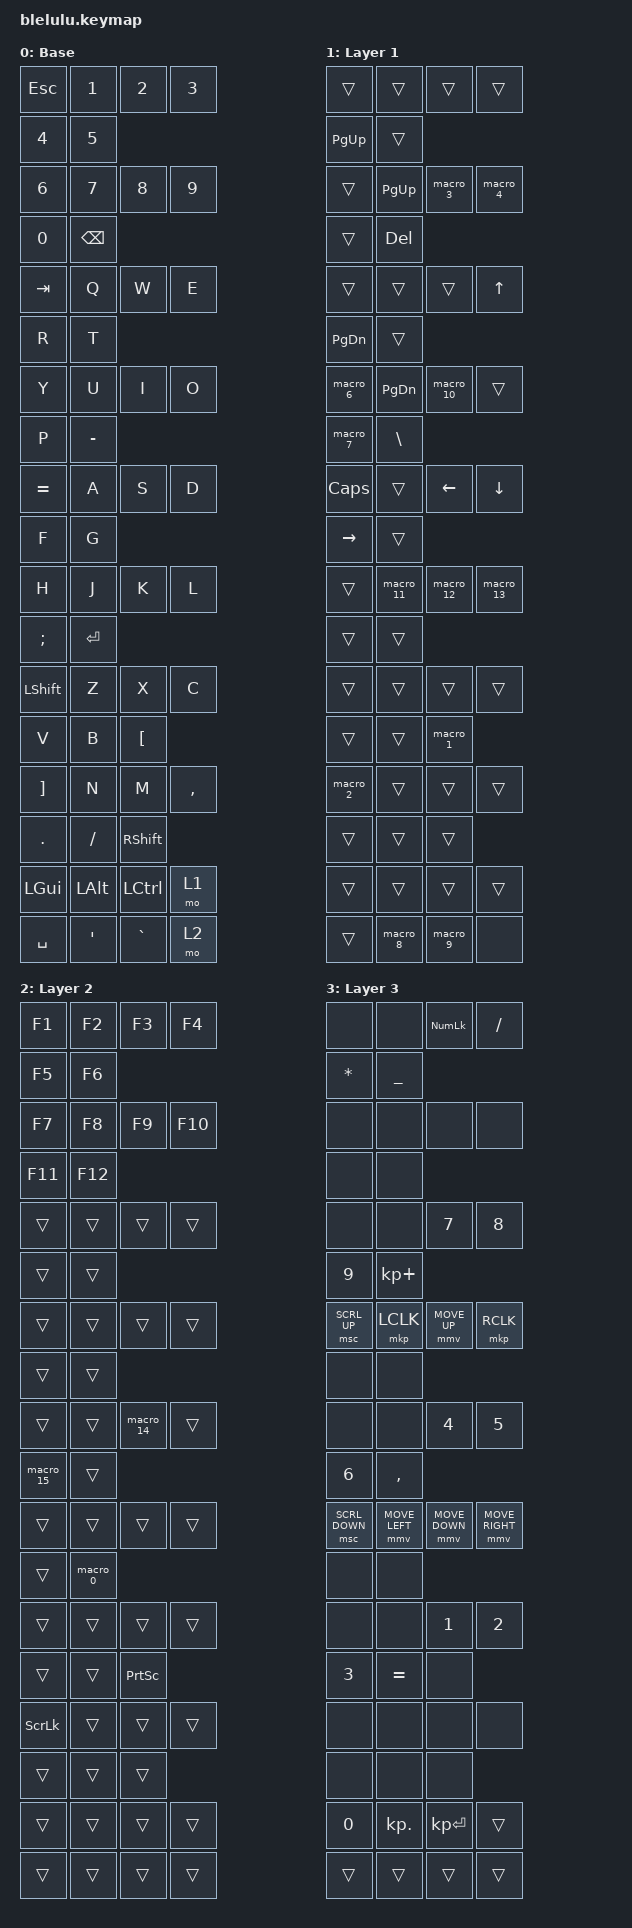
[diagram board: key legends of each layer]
#include <behaviors.dtsi>
#include <dt-bindings/zmk/keys.h>
#include <dt-bindings/zmk/mouse.h>

/ {
    macros {
        macro_0: macro_0 {
            compatible = "zmk,behavior-macro";
            #binding-cells = <0>;
            wait-ms = <40>;
            tap-ms = <40>;
            bindings = <&kp DQT &kp DQT &kp LEFT>;
        };
        macro_1: macro_1 {
            compatible = "zmk,behavior-macro";
            #binding-cells = <0>;
            bindings = <&kp LBKT &kp RBKT &kp LEFT>;
        };
        macro_2: macro_2 {
            compatible = "zmk,behavior-macro";
            #binding-cells = <0>;
            bindings = <&kp LBRC &kp RBRC &kp LEFT>;
        };
        macro_3: macro_3 {
            compatible = "zmk,behavior-macro";
            #binding-cells = <0>;
            bindings = <&kp ASTRK &kp ASTRK &kp LEFT>;
        };
        macro_4: macro_4 {
            compatible = "zmk,behavior-macro";
            #binding-cells = <0>;
            bindings = <&kp LPAR &kp RPAR &kp LEFT>;
        };
        macro_5: macro_5 {
            compatible = "zmk,behavior-macro";
            #binding-cells = <0>;
            bindings = <&kp UNDER &kp UNDER &kp LEFT>;
        };
        macro_6: macro_6 {
            compatible = "zmk,behavior-macro";
            #binding-cells = <0>;
            bindings = <&kp DQT &kp PLUS &kp Y>;
        };
        macro_7: macro_7 {
            compatible = "zmk,behavior-macro";
            #binding-cells = <0>;
            bindings = <&kp DQT &kp PLUS &kp P>;
        };
        macro_8: macro_8 {
            compatible = "zmk,behavior-macro";
            #binding-cells = <0>;
            bindings = <&kp DQT &kp DQT &kp LEFT>;
        };
        macro_9: macro_9 {
            compatible = "zmk,behavior-macro";
            #binding-cells = <0>;
            wait-ms = <40>;
            tap-ms = <40>;
            bindings = <
                &kp GRAVE &kp GRAVE &kp GRAVE
                &kp GRAVE &kp GRAVE &kp GRAVE
                &kp LEFT &kp LEFT &kp LEFT
            >;
        };
        macro_10: macro_10 {
            compatible = "zmk,behavior-macro";
            #binding-cells = <0>;
            bindings = <&kp LC(UP)>;
        };
        macro_11: macro_11 {
            compatible = "zmk,behavior-macro";
            #binding-cells = <0>;
            bindings = <&kp LC(LEFT)>;
        };
        macro_12: macro_12 {
            compatible = "zmk,behavior-macro";
            #binding-cells = <0>;
            bindings = <&kp LC(DOWN)>;
        };
        macro_13: macro_13 {
            compatible = "zmk,behavior-macro";
            #binding-cells = <0>;
            bindings = <&kp LC(RIGHT)>;
        };
        macro_14: macro_14 {
            compatible = "zmk,behavior-macro";
            #binding-cells = <0>;
            bindings = <&kp LA(LEFT)>;
        };
        macro_15: macro_15 {
            compatible = "zmk,behavior-macro";
            #binding-cells = <0>;
            bindings = <&kp LA(RIGHT)>;
        };
    };

    keymap {
        compatible = "zmk,keymap";

        base_layer {
            display-name = "Base";
            bindings = <
                &kp ESC &kp N1 &kp N2 &kp N3
                &kp N4 &kp N5
                &kp N6 &kp N7 &kp N8 &kp N9
                &kp N0 &kp BSPC

                &kp TAB &kp Q &kp W &kp E
                &kp R &kp T
                &kp Y &kp U &kp I &kp O
                &kp P &kp MINUS

                &kp EQUAL &kp A &kp S &kp D
                &kp F &kp G
                &kp H &kp J &kp K &kp L
                &kp SEMI &kp RET

                &kp LSHFT &kp Z &kp X &kp C
                &kp V &kp B &kp LBKT
                &kp RBKT &kp N &kp M &kp COMMA
                &kp DOT &kp FSLH &kp RSHFT

                &kp LGUI &kp LALT &kp LCTRL &mo 1
                &kp SPACE &kp SQT &kp GRAVE &mo 2
            >;
        };

        layer_1 {
            display-name = "Layer 1";
            bindings = <
                &trans &trans &trans &trans
                &kp PG_UP &trans
                &trans &kp PG_UP &macro_3 &macro_4
                &trans &kp DEL

                &trans &trans &trans &kp UP
                &kp PG_DN &trans
                &macro_6 &kp PG_DN &macro_10 &trans
                &macro_7 &kp BSLH

                &kp CAPS &trans &kp LEFT &kp DOWN
                &kp RIGHT &trans
                &trans &macro_11 &macro_12 &macro_13
                &trans &trans

                &trans &trans &trans &trans
                &trans &trans &macro_1
                &macro_2 &trans &trans &trans
                &trans &trans &trans

                &trans &trans &trans &trans
                &trans &macro_8 &macro_9 &none
            >;
        };

        layer_2 {
            display-name = "Layer 2";
            bindings = <
                &kp F1 &kp F2 &kp F3 &kp F4
                &kp F5 &kp F6
                &kp F7 &kp F8 &kp F9 &kp F10
                &kp F11 &kp F12

                &trans &trans &trans &trans
                &trans &trans
                &trans &trans &trans &trans
                &trans &trans

                &trans &trans &macro_14 &trans
                &macro_15 &trans
                &trans &trans &trans &trans
                &trans &macro_0

                &trans &trans &trans &trans
                &trans &trans &kp PSCRN
                &kp SLCK &trans &trans &trans
                &trans &trans &trans

                &trans &trans &trans &trans
                &trans &trans &trans &trans
            >;
        };

        layer_3 {
            display-name = "Layer 3";
            bindings = <
                &none &none &kp KP_NLCK &kp FSLH
                &kp ASTRK &kp UNDER
                &none &none &none &none
                &none &none

                &none &none &kp N7 &kp N8
                &kp N9 &kp KP_PLUS
                &msc SCRL_UP &mkp LCLK
                &mmv MOVE_UP &mkp RCLK
                &none &none

                &none &none &kp N4 &kp N5
                &kp N6 &kp COMMA
                &msc SCRL_DOWN &mmv MOVE_LEFT
                &mmv MOVE_DOWN &mmv MOVE_RIGHT
                &none &none

                &none &none &kp N1 &kp N2
                &kp N3 &kp EQUAL &none
                &none &none &none &none
                &none &none &none

                &kp N0 &kp KP_DOT &kp KP_ENTER &trans
                &trans &trans &trans &trans
            >;
        };
    };
};
